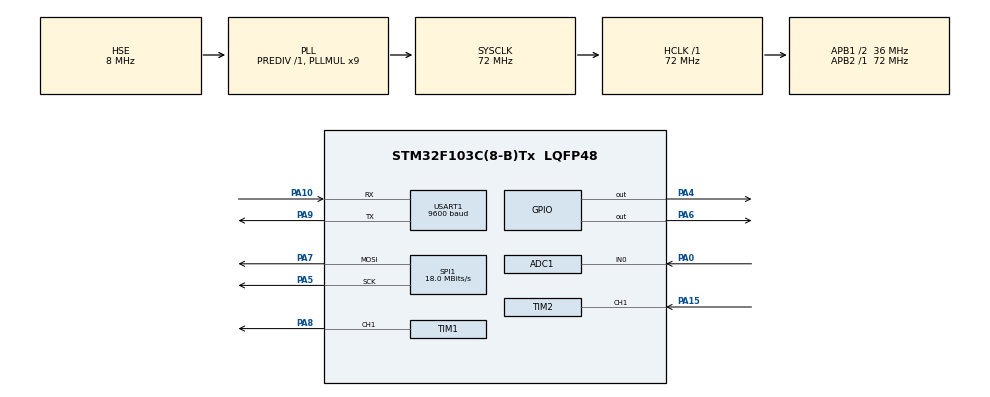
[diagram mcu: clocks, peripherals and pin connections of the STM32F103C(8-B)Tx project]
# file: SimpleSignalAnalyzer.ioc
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ADC1.Channel-0\#ChannelRegularConversion=ADC_CHANNEL_0
ADC1.ExternalTrigConv=ADC_EXTERNALTRIGCONV_T3_TRGO
ADC1.NbrOfConversionFlag=1
ADC1.Rank-0\#ChannelRegularConversion=1
ADC1.SamplingTime-0\#ChannelRegularConversion=ADC_SAMPLETIME_1CYCLE_5
ADC1.master=1
Dma.ADC1.0.Direction=DMA_PERIPH_TO_MEMORY
Dma.ADC1.0.Instance=DMA1_Channel1
Dma.ADC1.0.MemDataAlignment=DMA_MDATAALIGN_WORD
Dma.ADC1.0.MemInc=DMA_MINC_ENABLE
Dma.ADC1.0.Mode=DMA_CIRCULAR
Dma.ADC1.0.PeriphDataAlignment=DMA_PDATAALIGN_WORD
Dma.ADC1.0.PeriphInc=DMA_PINC_DISABLE
Dma.ADC1.0.Priority=DMA_PRIORITY_LOW
Dma.Request0=ADC1
Dma.Request1=TIM1_CH1
Dma.TIM1_CH1.1.Direction=DMA_MEMORY_TO_PERIPH
Dma.TIM1_CH1.1.Instance=DMA1_Channel2
Dma.TIM1_CH1.1.MemDataAlignment=DMA_MDATAALIGN_HALFWORD
Dma.TIM1_CH1.1.MemInc=DMA_MINC_ENABLE
Dma.TIM1_CH1.1.Mode=DMA_CIRCULAR
Dma.TIM1_CH1.1.PeriphDataAlignment=DMA_PDATAALIGN_HALFWORD
Dma.TIM1_CH1.1.PeriphInc=DMA_PINC_DISABLE
Dma.TIM1_CH1.1.Priority=DMA_PRIORITY_LOW
Mcu.Family=STM32F1
Mcu.Name=STM32F103C(8-B)Tx
Mcu.Package=LQFP48
NVIC.ADC1_2_IRQn=true\:0\:0\:false\:false\:true\:true\:true\:true
NVIC.DMA1_Channel1_IRQn=true\:0\:0\:false\:false\:true\:false\:true\:true
NVIC.DMA1_Channel2_IRQn=true\:0\:0\:false\:false\:true\:false\:true\:true
NVIC.PriorityGroup=NVIC_PRIORITYGROUP_4
NVIC.TIM2_IRQn=true\:0\:0\:false\:false\:true\:true\:true\:true
NVIC.TIM4_IRQn=true\:0\:0\:false\:false\:true\:true\:true\:true
NVIC.USART1_IRQn=true\:0\:0\:false\:false\:true\:true\:true\:true
PA0-WKUP.Signal=ADCx_IN0
PA10.Mode=Asynchronous
PA10.Signal=USART1_RX
PA13.Mode=Serial_Wire
PA13.Signal=SYS_JTMS-SWDIO
PA14.Mode=Serial_Wire
PA14.Signal=SYS_JTCK-SWCLK
PA15.Signal=S_TIM2_CH1_ETR
PA4.Signal=GPIO_Output
PA5.Mode=TX_Only_Simplex_Unidirect_Master
PA5.Signal=SPI1_SCK
PA6.Signal=GPIO_Output
PA7.Mode=TX_Only_Simplex_Unidirect_Master
PA7.Signal=SPI1_MOSI
PA8.Signal=S_TIM1_CH1
PA9.Mode=Asynchronous
PA9.Signal=USART1_TX
PC14-OSC32_IN.Mode=LSE-External-Oscillator
PC14-OSC32_IN.Signal=RCC_OSC32_IN
PC15-OSC32_OUT.Mode=LSE-External-Oscillator
PC15-OSC32_OUT.Signal=RCC_OSC32_OUT
PD0-OSC_IN.Mode=HSE-External-Oscillator
PD0-OSC_IN.Signal=RCC_OSC_IN
PD1-OSC_OUT.Mode=HSE-External-Oscillator
PD1-OSC_OUT.Signal=RCC_OSC_OUT
ProjectManager.HeapSize=0x200
ProjectManager.StackSize=0x400
ProjectManager.TargetToolchain=MDK-ARM V5
RCC.ADCPresc=RCC_ADCPCLK2_DIV6
RCC.AHBFreq_Value=72000000
RCC.APB1CLKDivider=RCC_HCLK_DIV2
RCC.APB1Freq_Value=36000000
RCC.APB1TimFreq_Value=72000000
RCC.APB2Freq_Value=72000000
RCC.APB2TimFreq_Value=72000000
RCC.HCLKFreq_Value=72000000
RCC.PLLMUL=RCC_PLL_MUL9
RCC.PLLSourceVirtual=RCC_PLLSOURCE_HSE
RCC.SYSCLKFreq_VALUE=72000000
RCC.SYSCLKSource=RCC_SYSCLKSOURCE_PLLCLK
RCC.USBFreq_Value=72000000
SH.ADCx_IN0.0=ADC1_IN0,IN0
SH.S_TIM1_CH1.0=TIM1_CH1,PWM Generation1 CH1
SH.S_TIM2_CH1_ETR.0=TIM2_CH1,Input_Capture1_from_TI1
SPI1.BaudRatePrescaler=SPI_BAUDRATEPRESCALER_4
SPI1.CalculateBaudRate=18.0 MBits/s
SPI1.Direction=SPI_DIRECTION_2LINES
SPI1.Mode=SPI_MODE_MASTER
SPI1.VirtualType=VM_MASTER
TIM1.Channel-PWM\ Generation1\ CH1=TIM_CHANNEL_1
TIM1.Period=89
TIM2.AutoReloadPreload=TIM_AUTORELOAD_PRELOAD_ENABLE
TIM2.Channel-Input_Capture1_from_TI1=TIM_CHANNEL_1
TIM2.Period=0xffff
TIM2.Prescaler=21
TIM3.AutoReloadPreload=TIM_AUTORELOAD_PRELOAD_ENABLE
TIM3.TIM_MasterOutputTrigger=TIM_TRGO_UPDATE
TIM4.AutoReloadPreload=TIM_AUTORELOAD_PRELOAD_ENABLE
TIM4.Period=9999
TIM4.Prescaler=719
USART1.BaudRate=9600
USART1.VirtualMode=VM_ASYNC
VP_TIM1_VS_ClockSourceINT.Mode=Internal
VP_TIM2_VS_ClockSourceINT.Mode=Internal
VP_TIM3_VS_ClockSourceINT.Mode=Internal
VP_TIM4_VS_ClockSourceINT.Mode=Internal
board=custom

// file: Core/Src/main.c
/* USER CODE BEGIN Header */
/**
 ******************************************************************************
 * @file           : main.c
 * @brief          : Main program body
 ******************************************************************************
 * @attention
 *
 * Copyright (c) 2022 STMicroelectronics.
 * All rights reserved.
 *
 * This software is licensed under terms that can be found in the LICENSE file
 * in the root directory of this software component.
 * If no LICENSE file comes with this software, it is provided AS-IS.
 *
 ******************************************************************************
 */
/* USER CODE END Header */
#include "main.h"

#include "adc.h"
#include "dma.h"
#include "gpio.h"
#include "spi.h"
#include "tim.h"
#include "usart.h"

/* USER CODE BEGIN Includes */
#include "8x8led.h"
#include "dac8830.h"
#include "math.h"
#include "stdio.h"
#include "string.h"
#include "ws2812.h"
/* USER CODE END Includes */

/* USER CODE BEGIN PD */
#define TIM_FREQ 72
#define TIM2_PRESCALER 21
#define SQUARE 0
#define SINE 1
#define ABS(x) ((x) > 0 ? (x) : -(x))
/* USER CODE END PD */

/* USER CODE BEGIN PV */
uint8_t str_buff[64];
uint8_t Rx_char = 0;
uint32_t capture_Buf[5] = {0};
uint8_t capture_Cnt = 0;
float high_time, low_time, total_time, duty_cycle, freq, rms, vp, adjVp, preFreq, vdc;
int wave_type = 0;
uint32_t adc_buf[1000];
volatile int adcBufFullFlag = 0;
uint16_t adc_value = 0, adc_volt = 0;
uint16_t ws2812_sine[] = {24, 17, 10, 3, 4, 13, 22, 31};
uint16_t ws2812_square[] = {24, 25, 26, 18, 10, 2, 3, 4, 5, 13, 21, 29, 30, 31};
float brightness = 0;
int flag = 1;
float volt_buf[1024];
int points = 100;
/* USER CODE END PV */

void SystemClock_Config(void);

/* USER CODE BEGIN 0 */
int fputc(int ch, FILE *f) {
    HAL_UART_Transmit(&huart1, (uint8_t *)&ch, 1, 0xffff);
    return ch;
}

int fgetc(FILE *f) {
    uint8_t ch = 0;
    HAL_UART_Receive(&huart1, &ch, 1, 0xffff);
    return ch;
}

void UART_SendInfo(void) {
    printf(wave_type == SINE ? "Sine" : "Square");
    printf(" Vp=%.1f rms=%.1f freq=%.1f duty=%.1f Vp=%.1f\n", adjVp, rms, freq, duty_cycle, vp);
}

void HAL_ADC_ConvCpltCallback(ADC_HandleTypeDef *hadc) {
    if (hadc->Instance == ADC1) {
        adcBufFullFlag = 1;
    }
}

void HAL_UART_RxCpltCallback(UART_HandleTypeDef *huart) {
    if (huart->Instance == USART1) {
        // UART_SendInfo();
        if (Rx_char == '+') points += 100;
        if (Rx_char == '-') points -= 100;
        points = points < 10 ? 10 : points;
        points = points > 900 ? 900 : points;
        HAL_UART_Receive_IT(&huart1, &Rx_char, 1);
    }
}

void HAL_TIM_IC_CaptureCallback(TIM_HandleTypeDef *htim) {
    if (htim->Instance == TIM2) {
        switch (capture_Cnt) {
            case 1:
                capture_Buf[0] = HAL_TIM_ReadCapturedValue(&htim2, TIM_CHANNEL_1);
                __HAL_TIM_SET_CAPTUREPOLARITY(&htim2, TIM_CHANNEL_1,
                                              TIM_ICPOLARITY_FALLING);
                capture_Cnt++;
                break;
            case 2:
                capture_Buf[1] = HAL_TIM_ReadCapturedValue(&htim2, TIM_CHANNEL_1);
                __HAL_TIM_SET_CAPTUREPOLARITY(&htim2, TIM_CHANNEL_1,
                                              TIM_ICPOLARITY_RISING);
                capture_Cnt++;
                break;
            case 3:
                capture_Buf[2] = HAL_TIM_ReadCapturedValue(&htim2, TIM_CHANNEL_1);
                HAL_TIM_IC_Stop_IT(&htim2, TIM_CHANNEL_1);
                capture_Cnt++;
                break;
        }
    }
}

float to_microsecond(uint32_t cnt, uint32_t PSC) {
    return (float)cnt * (float)(PSC + 1) / TIM_FREQ;
}

void cal_arr_and_psc(float SamplingRate, TIM_TypeDef *TIMx) {
    uint32_t totalDashed = TIM_FREQ * 1000000 / SamplingRate;
    uint32_t sqrtedTotal = (uint32_t)sqrt(totalDashed);

    for (uint32_t Prescaler = 2; Prescaler <= sqrtedTotal || Prescaler < 0xffff;
         Prescaler++) {
        if (totalDashed % Prescaler == 0 && Prescaler > 1 &&
            totalDashed / Prescaler > 1) {
            if (totalDashed / Prescaler <= 0xffff) {
                TIMx->ARR = totalDashed / Prescaler - 1;
                TIMx->PSC = Prescaler - 1;
            }
        }
    }
    totalDashed += 1;
    for (uint32_t Prescaler = 2; Prescaler <= sqrtedTotal || Prescaler < 0xffff;
         Prescaler++) {
        if (totalDashed % Prescaler == 0 && Prescaler > 1 &&
            totalDashed / Prescaler > 1) {
            if (totalDashed / Prescaler <= 0xffff) {
                TIMx->ARR = totalDashed / Prescaler - 1;
                TIMx->PSC = Prescaler - 1;
            }
        }
    }
}

int get_wave_type() {
    return (vp / sqrt(2) + vp) / 2 - rms <= 0 ? SQUARE : SINE;
}

float adj_vp() { return wave_type == SINE ? rms * 1.414 : rms; }

void ws2812_show_freq() {
    WS2812_clear();
    int R = 80, G = 0, B = 0;
    if (freq <= 1000) {
        R = 80, G = 0, B = 0;
    } else if (freq <= 5500) {
        R = 80 * (5500 - freq) / 4500;
        G = 80 * (freq - 1000) / 4500;
        B = 0;
    } else if (freq < 15500) {
        R = 0;
        G = 80 * (15500 - freq) / 10000;
        B = 80 * (freq - 5500) / 10000;
    } else {
        R = 0, G = 0, B = 80;
    }
    // WS2812_display_RGB(R, G, B, 17);
    brightness += freq * 0.002 * flag;
    if (brightness >= 100) {
        brightness = 100;
        flag = -1;
    } else if (brightness <= 0) {
        brightness = 0;
        flag = 1;
    }
    R = R * brightness / 100;
    G = G * brightness / 100;
    B = B * brightness / 100;
    if (wave_type == SINE) {
        for (int i = 0; i < 8; i++) {
            WS2812_display_RGB(R, G, B, ws2812_sine[i]);
        }
    } else {
        for (int i = 0; i < 14; i++) {
            WS2812_display_RGB(R, G, B, ws2812_square[i]);
        }
    }

    WS2812_display();
}

void led_show_freq() {
    int f = (int)(freq / 1000.0 + 0.5);
    int row = 1;
    int dat = 0;
    while (f && row <= 8) {
        if (f >= 8) {
            dat = 0xff;
            f -= 8;
        } else {
            dat = (1 << f) - 1;
            dat <<= 8 - f;
            f = 0;
        }
        Write_Max7219(row, dat);
        row++;
    }
    while (row <= 8) {
        Write_Max7219(row, 0);
        row++;
    }
}

void led_show_vpp() {
    int vpp = (int)(adjVp*2/50 + 0.5);
    int row = 1;
    int dat = 0;
    while (vpp && row <= 8) {
        if (vpp >= 8) {
            dat = 0xff;
            vpp -= 8;
        } else {
            dat = (1 << vpp) - 1;
            dat <<= 8 - vpp;
            vpp = 0;
        }
        Write_Max7219(row, dat);
        row++;
    }
    while (row <= 8) {
        Write_Max7219(row, 0);
        row++;
    }
}

void HAL_TIM_PeriodElapsedCallback(TIM_HandleTypeDef *htim) {
    if (htim->Instance == TIM4) {
        ws2812_show_freq();
        led_show_vpp();
        dac8830_write_volt(vdc / 1000);
    }
}

void uart_HMI_show() {
    printf("\xff\xff\xff");
    if (wave_type == SINE)
        printf("t0.txt=\" Wave: Sine Freq: %.1fkHz \r\n Vp: %.0fmV Vdc: %.0fV\"", (freq / 1000.0), adjVp, vdc);
    else
        printf("t0.txt=\" Wave: Square Freq: %.1fkHz Vp: %.0fmV \r\n Duty: %.0f%% Vdc: %.0fmV\"", (freq / 1000.0), adjVp, duty_cycle, vdc);
    printf("\xff\xff\xff");
}
/* USER CODE END 0 */

int main(void) {

    /* MCU Configuration--------------------------------------------------------*/

    /* Reset of all peripherals, Initializes the Flash interface and the Systick. */
    HAL_Init();

    /* Configure the system clock */
    SystemClock_Config();

    /* Initialize all configured peripherals */
    MX_GPIO_Init();
    MX_DMA_Init();
    MX_ADC1_Init();
    MX_USART1_UART_Init();
    MX_TIM2_Init();
    MX_TIM3_Init();
    MX_TIM1_Init();
    MX_TIM4_Init();
    MX_SPI1_Init();
    /* USER CODE BEGIN 2 */
    Init_Max7219();
    dac8830_write_volt(3);
    HAL_ADCEx_Calibration_Start(&hadc1);
    HAL_UART_Receive_IT(&huart1, &Rx_char, 1);
    cal_arr_and_psc(500000, TIM3);
    HAL_TIM_Base_Start(&htim3);
    HAL_TIM_Base_Start_IT(&htim4);
    HAL_ADC_Start_DMA(&hadc1, (uint32_t *)adc_buf, 1000);

    /* USER CODE END 2 */

    /* Infinite loop */
    /* USER CODE BEGIN WHILE */
    while (1) {
        switch (capture_Cnt) {
            case 0:
                capture_Cnt++;
                __HAL_TIM_SET_CAPTUREPOLARITY(&htim2, TIM_CHANNEL_1,
                                              TIM_INPUTCHANNELPOLARITY_RISING);
                HAL_TIM_IC_Start_IT(&htim2, TIM_CHANNEL_1);
                break;
            case 4:
                high_time = to_microsecond(capture_Buf[1] - capture_Buf[0], TIM2_PRESCALER);
                low_time = to_microsecond(capture_Buf[2] - capture_Buf[1], TIM2_PRESCALER);
                total_time = high_time + low_time;
                duty_cycle = (high_time * 100.0) / total_time;

                if (ABS(1000000.0 / total_time - preFreq) > 1000) {
                    HAL_TIM_Base_Stop(&htim3);
                    HAL_ADC_Stop_DMA(&hadc1);
                    if (freq >= 1000)
                        cal_arr_and_psc(10 * freq, TIM3);
                    else
                        cal_arr_and_psc(500000, TIM3);
                    HAL_TIM_Base_Start(&htim3);
                    HAL_ADC_Start_DMA(&hadc1, (uint32_t *)adc_buf, 1000);
                }
                preFreq = freq;
                freq = 1000000.0 / total_time;
                capture_Cnt = 0;
                break;
        }

        if (adcBufFullFlag) {
            float volt, vMax = 0, vMin = 9999, vSquareSum = 0, vSum = 0;

            for (int i = 0; i < 1000; i++) {
                volt_buf[i] = (adc_buf[i] * 3300.0 / 4096.0) * 2;
                if (volt_buf[i] > vMax) vMax = volt_buf[i];
                if (volt_buf[i] < vMin) vMin = volt_buf[i];
                vSum += volt_buf[i];
            }
            // vdc = vSum / 1000;
            // vdc += vdc / 1000 * 4; // 校准
            // if (wave_type == SQUARE && (duty_cycle < 48 || duty_cycle > 52)){
            vdc = vMax * 0.5 + vMin * 0.5;
            //}

            for (int i = 0; i < 1000; i++) {
                volt = volt_buf[i] - vdc;
                vSquareSum += (volt / 1000) * (volt / 1000);
            }

            uart_HMI_show();
            printf("\xff\xff\xff");
            printf("addt 1,0,50\xff\xff\xff");
            for (int i = 0; i < 70; i++) {
                printf("%c", (int)(volt_buf[i] * 255 / 5000));
            }

            rms = sqrt(vSquareSum / 1000.0) * 1000;
            // rms = rms * 1.0097888768426757 - 36.011380740475425;
            vp = (vMax - vMin) / 2;
            wave_type = get_wave_type();
            adjVp = adj_vp();
            adcBufFullFlag = 0;
        }
        /* USER CODE END WHILE */

    }
}

void SystemClock_Config(void) {
    RCC_OscInitTypeDef RCC_OscInitStruct = {0};
    RCC_ClkInitTypeDef RCC_ClkInitStruct = {0};
    RCC_PeriphCLKInitTypeDef PeriphClkInit = {0};

    /** Initializes the RCC Oscillators according to the specified parameters
     * in the RCC_OscInitTypeDef structure.
     */
    RCC_OscInitStruct.OscillatorType = RCC_OSCILLATORTYPE_HSE;
    RCC_OscInitStruct.HSEState = RCC_HSE_ON;
    RCC_OscInitStruct.HSEPredivValue = RCC_HSE_PREDIV_DIV1;
    RCC_OscInitStruct.HSIState = RCC_HSI_ON;
    RCC_OscInitStruct.PLL.PLLState = RCC_PLL_ON;
    RCC_OscInitStruct.PLL.PLLSource = RCC_PLLSOURCE_HSE;
    RCC_OscInitStruct.PLL.PLLMUL = RCC_PLL_MUL9;
    if (HAL_RCC_OscConfig(&RCC_OscInitStruct) != HAL_OK) {
        Error_Handler();
    }

    /** Initializes the CPU, AHB and APB buses clocks
     */
    RCC_ClkInitStruct.ClockType = RCC_CLOCKTYPE_HCLK | RCC_CLOCKTYPE_SYSCLK | RCC_CLOCKTYPE_PCLK1 | RCC_CLOCKTYPE_PCLK2;
    RCC_ClkInitStruct.SYSCLKSource = RCC_SYSCLKSOURCE_PLLCLK;
    RCC_ClkInitStruct.AHBCLKDivider = RCC_SYSCLK_DIV1;
    RCC_ClkInitStruct.APB1CLKDivider = RCC_HCLK_DIV2;
    RCC_ClkInitStruct.APB2CLKDivider = RCC_HCLK_DIV1;

    if (HAL_RCC_ClockConfig(&RCC_ClkInitStruct, FLASH_LATENCY_2) != HAL_OK) {
        Error_Handler();
    }
    PeriphClkInit.PeriphClockSelection = RCC_PERIPHCLK_ADC;
    PeriphClkInit.AdcClockSelection = RCC_ADCPCLK2_DIV6;
    if (HAL_RCCEx_PeriphCLKConfig(&PeriphClkInit) != HAL_OK) {
        Error_Handler();
    }
}

void Error_Handler(void) {
    __disable_irq();
    while (1) {
    }
}

#ifdef USE_FULL_ASSERT
/**
 * @brief  Reports the name of the source file and the source line number
 *         where the assert_param error has occurred.
 * @param  file: pointer to the source file name
 * @param  line: assert_param error line source number
 * @retval None
 */
void assert_failed(uint8_t *file, uint32_t line) {
    /* USER CODE BEGIN 6 */
    /* User can add his own implementation to report the file name and line
       number, ex: printf("Wrong parameters value: file %s on line %d\r\n", file,
       line) */
    /* USER CODE END 6 */
}
#endif /* USE_FULL_ASSERT */
